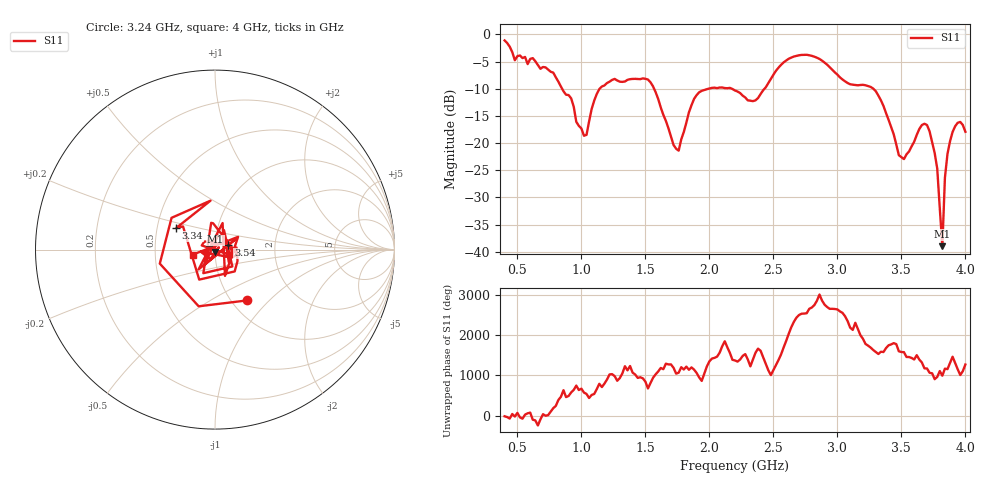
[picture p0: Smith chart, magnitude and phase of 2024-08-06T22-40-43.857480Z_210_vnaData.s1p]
!Created with skrf (http://scikit-rf.org).
# Hz S RI R 50.0
!freq ReS11 ImS11
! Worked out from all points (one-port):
!   181 points, 400 MHz to 4 GHz, reference 50 ohm
!   lowest |S11| = -39.0 dB at 3.82 GHz (marker M1), VSWR 1.02, Z = 50.1 - j1.13 ohm
!   |S11| at or under -10 dB: 849.4 MHz to 1.142 GHz (292.7 MHz wide, 29.4 % of centre); 1.568 GHz to 1.992 GHz (424.5 MHz wide, 23.8 % of centre); 3.281 GHz to end of sweep (the widest 3 of 4)
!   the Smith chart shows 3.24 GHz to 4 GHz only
!   S11 on the Smith chart (normalised r, x): 3.24 GHz: 1.17, -0.75; 3.34 GHz: 0.63, +0.16; 3.54 GHz: 1.16, +0.06; 4 GHz: 0.78, -0.04
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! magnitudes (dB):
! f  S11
! 400 MHz  -1.1
! 480 MHz  -4.8
! 620 MHz  -4.4
! 860 MHz  -10.5
! 1.02 GHz  -18.6
! 1.14 GHz  -10.0
! 1.3 GHz  -8.7
! 1.54 GHz  -8.8
! 1.76 GHz  -21.4
! 1.92 GHz  -10.7
! 2.2 GHz  -10.3
! 2.36 GHz  -12.1
! 2.66 GHz  -4.1
! 2.86 GHz  -4.5
! 3.1 GHz  -9.2
! 3.24 GHz  -9.5
! 3.34 GHz  -12.1
! 3.48 GHz  -22.2
! 3.54 GHz  -22.1
! 3.56 GHz  -21.5
! 3.66 GHz  -16.7
! 3.72 GHz  -17.8
! 3.78 GHz  -24.7
! 3.82 GHz  -39.0
! 3.84 GHz  -26.4
! 3.86 GHz  -22.0
! 3.94 GHz  -16.3
! 4 GHz  -17.9
